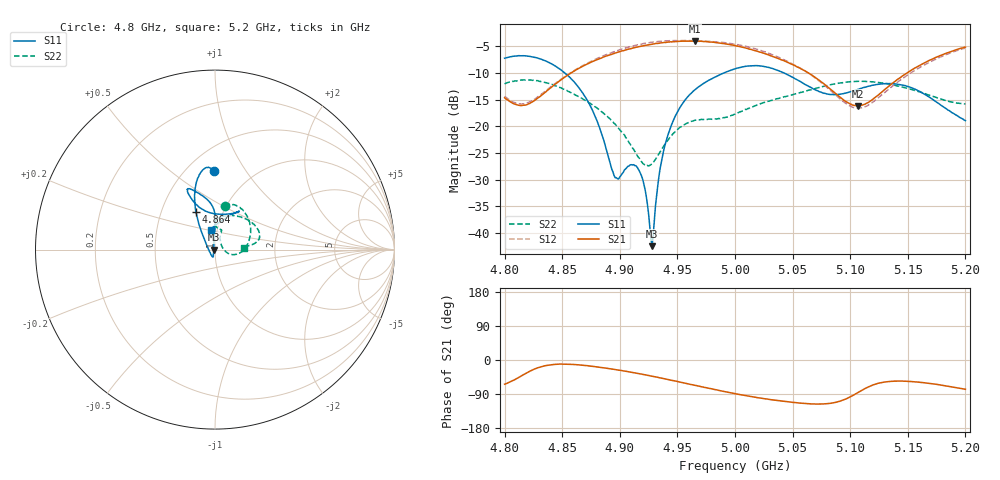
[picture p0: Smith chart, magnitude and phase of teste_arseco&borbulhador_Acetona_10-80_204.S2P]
! Network Analyzer HP8722D
! Hewlett-Packard
! Data name: Linha & Wilkinson
! Saver's name: Rodrigo Anjos
! Comments: Teste da utilização de aquisição
! continua pelo VNA HP8722D
! Time and date: 25/4/2025 16:58
!  Frequency  S11  S21  S12  S22
# HZ  S  MA R 50
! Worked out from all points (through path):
!   401 points, 4.8 GHz to 5.2 GHz, reference 50 ohm
!   highest |S21| = -3.98 dB at 4.965 GHz (marker M1); lowest = -16.2 dB at 5.107 GHz (marker M2)
!   lowest |S11| = -42.5 dB at 4.928 GHz (marker M3), VSWR 1.02, Z = 49.3 + j0.0367 ohm
!   |S11| at or under -10 dB: 4.852 GHz to 4.99 GHz (137.9 MHz wide, 2.8 % of centre); 5.043 GHz to end of sweep
!   |S22| runs from -27.5 to -11.3 dB; largest |S21 - S12| = 1.2
!   S11 on the Smith chart (normalised r, x): 4.8 GHz: 0.67, +0.72; 4.864 GHz: 0.75, +0.33; 5.2 GHz: 0.94, +0.21
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4.8e9  0.4357 91.0  0.1854 -63.8  0.191 69.5  0.2498 77.4
4.82e9  0.4551 97.2  0.1607 -32.5  0.1665 98.3  0.2718 62.4
4.843e9  0.3739 106.6  0.2444 -11.7  0.2478 118.8  0.2421 37.1
4.864e9  0.234 116.9  0.3478 -12.7  0.3509 121.2  0.1905 12.2
4.867e9  0.2109 118.5  0.3625 -13.6  0.3664 120.7  0.1835 9.0
4.88e9  0.1142 128.8  0.4214 -18.1  0.432 118.3  0.149 -4.9
4.896e9  0.03289 -169.1  0.4875 -25.3  0.5058 113.3  0.1048 -15.4
4.91e9  0.04362 -108.1  0.5367 -32.4  0.5634 107.2  0.06505 -13.3
4.917e9  0.03792 -104.3  0.5614 -36.3  0.5881 103.7  0.05006 -0.6
4.921e9  0.02823 -109.5  0.5733 -38.5  0.5999 101.4  0.04392 12.3
4.928e9  0.00749 177.1  0.5899 -42.8  0.6144 97.3  0.04465 39.9
4.934e9  0.03395 100.1  0.6023 -46.6  0.6272 93.4  0.05529 57.3
4.939e9  0.0653 93.5  0.6131 -49.6  0.6339 90.1  0.06724 65.1
4.946e9  0.1104 90.2  0.6216 -54.2  0.6357 85.8  0.08484 69.4
4.965e9  0.2191 91.3  0.6324 -66.7  0.6351 73.6  0.1141 71.1
5e9  0.3466 109.4  0.5735 -88.8  0.5921 50.9  0.13 88.3
5.03e9  0.3556 115.5  0.4633 -104.0  0.4812 34.0  0.1722 85.4
5.067e9  0.2283 105.5  0.3015 -115.8  0.2984 23.6  0.2222 57.3
5.107e9  0.2225 64.7  0.1556 -85.3  0.1476 57.8  0.2641 24.3
5.134e9  0.2516 57.9  0.2399 -56.6  0.2255 88.8  0.2485 12.4
5.169e9  0.1867 70.4  0.4171 -61.9  0.4008 84.9  0.1953 6.9
5.2e9  0.1131 100.8  0.5533 -77.4  0.5435 70.4  0.1621 3.7
